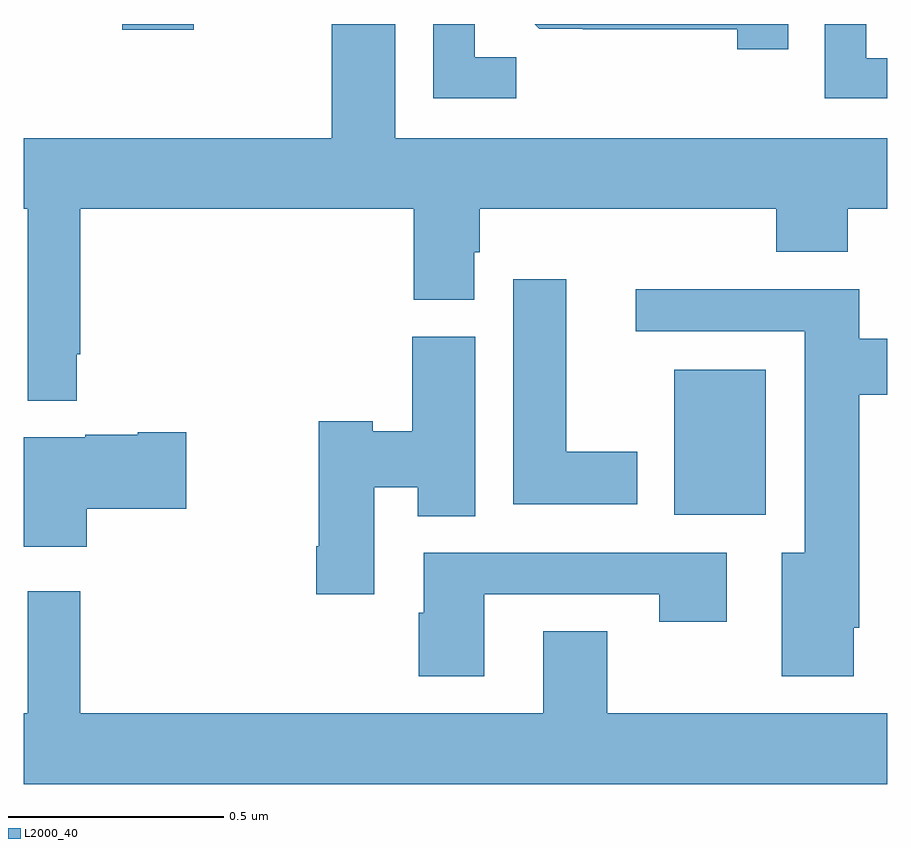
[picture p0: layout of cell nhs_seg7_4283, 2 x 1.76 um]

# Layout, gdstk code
import gdstk
lib = gdstk.Library(unit=1e-6, precision=1e-09)
def R(c, l, rs):  # rectangles x0, y0, x1, y1
    for r in rs: c.add(gdstk.rectangle(r[:2], r[2:], *l))
def P(c, l, *ps):  # polygons
    for p in ps: c.add(gdstk.Polygon(p, *l))
L2000_40 = (2000, 40)

nhs_seg7_4283 = lib.new_cell('nhs_seg7_4283')
R(nhs_seg7_4283, L2000_40, [(171.506,1043.864,171.718,1044.199), (170.228,1044.987,170.394,1045)])
P(nhs_seg7_4283, L2000_40, [(170.123,1044.235),(170.131,1044.235),(170.131,1044.572),(170.903,1044.572),(170.903,1044.361),(171.043,1044.361),(171.043,1044.471),(171.056,1044.471),(171.056,1044.572),(171.743,1044.572),(171.743,1044.473),(171.908,1044.473),(171.908,1044.572),(172,1044.572),(172,1044.736),(170.86,1044.736),(170.86,1045),(170.713,1045),(170.713,1044.736),(170,1044.736),(170,1044.572),(170.009,1044.572),(170.009,1044.128),(170.123,1044.128)],
  [(172,1044.921),(171.951,1044.921),(171.951,1045),(171.855,1045),(171.855,1044.828),(172,1044.828)],
  [(171.77,1045),(171.183,1045),(171.194,1044.989),(171.295,1044.989),(171.295,1044.988),(171.652,1044.988),(171.652,1044.942),(171.77,1044.942)],
  [(171.141,1044.923),(171.045,1044.923),(171.045,1045),(170.949,1045),(170.949,1044.828),(171.141,1044.828)],
  [(171.421,1044.01),(171.256,1044.01),(171.256,1044.409),(171.134,1044.409),(171.134,1043.888),(171.421,1043.888)],
  [(171.922,1043.602),(171.935,1043.602),(171.935,1044.142),(172,1044.142),(172,1044.271),(171.935,1044.271),(171.935,1044.386),(171.417,1044.386),(171.417,1044.288),(171.809,1044.288),(171.809,1043.776),(171.755,1043.776),(171.755,1043.49),(171.922,1043.49)],
  [(170.812,1043.927),(170.912,1043.927),(170.912,1043.86),(171.046,1043.86),(171.046,1044.276),(170.9,1044.276),(170.9,1044.057),(170.808,1044.057),(170.808,1044.08),(170.683,1044.08),(170.683,1043.791),(170.678,1043.791),(170.678,1043.679),(170.812,1043.679)],
  [(170.146,1043.878),(170.377,1043.878),(170.377,1044.055),(170.264,1044.055),(170.264,1044.049),(170.142,1044.049),(170.142,1044.043),(170,1044.043),(170,1043.789),(170.146,1043.789)],
  [(171.067,1043.679),(171.472,1043.679),(171.472,1043.616),(171.628,1043.616),(171.628,1043.775),(170.927,1043.775),(170.927,1043.637),(170.915,1043.637),(170.915,1043.49),(171.067,1043.49)],
  [(172,1043.404),(171.351,1043.404),(171.351,1043.594),(171.203,1043.594),(171.203,1043.404),(170.131,1043.404),(170.131,1043.686),(170.009,1043.686),(170.009,1043.404),(170,1043.404),(170,1043.24),(172,1043.24)])

lib.write_gds('nhs_seg7_4283.gds')
